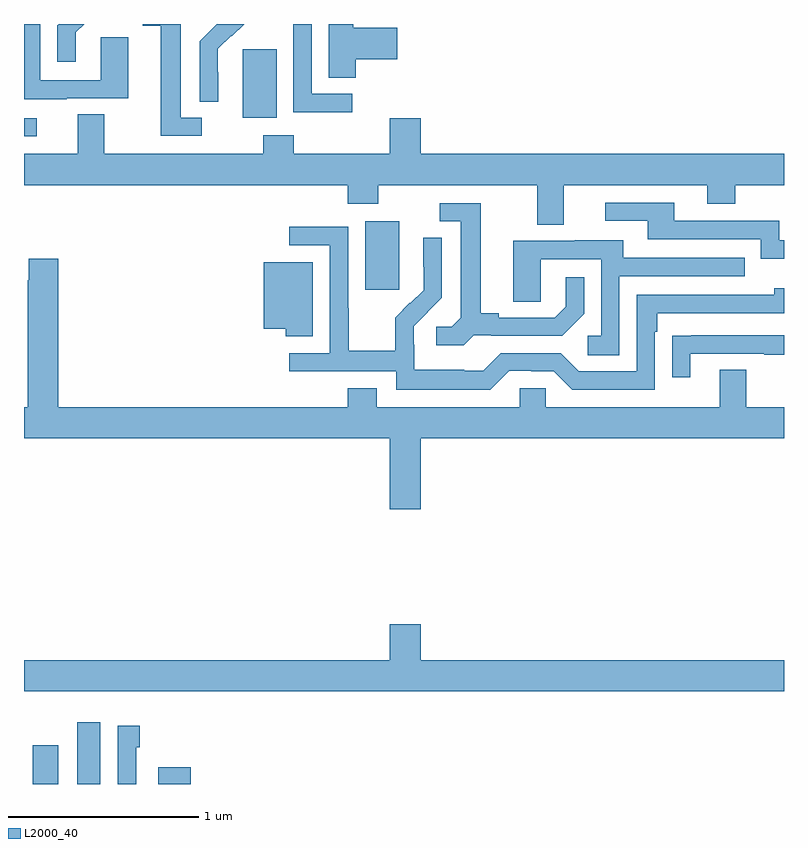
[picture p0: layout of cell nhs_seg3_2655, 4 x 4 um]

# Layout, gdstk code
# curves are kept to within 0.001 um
import gdstk
lib = gdstk.Library(unit=1e-6, precision=1e-09)
def R(c, l, rs):  # rectangles x0, y0, x1, y1
    for r in rs: c.add(gdstk.rectangle(r[:2], r[2:], *l))
def P(c, l, *ps):  # polygons
    for p in ps: c.add(gdstk.Polygon(p, *l))
L2000_40 = (2000, 40)

nhs_seg3_2655 = lib.new_cell('nhs_seg3_2655')
R(nhs_seg3_2655, L2000_40, [(247.046,728.4,247.18,728.605), (247.28,728.4,247.402,728.725), (247.706,728.4,247.877,728.488), (248.795,731.001,248.974,731.362), (247,731.808,247.066,731.904), (248.15,731.906,248.329,732.267)])
P(nhs_seg3_2655, L2000_40, [(248.747,732.214),(248.965,732.214),(248.965,732.379),(248.734,732.379),(248.734,732.4),(248.603,732.4),(248.603,732.118),(248.747,732.118)],
  [(247.936,731.907),(247.825,731.907),(247.825,732.4),(247.625,732.4),(247.625,732.392),(247.721,732.392),(247.721,731.811),(247.936,731.811)],
  [(247.273,732.357),(247.316,732.4),(247.182,732.4),(247.176,732.394),(247.176,732.201),(247.273,732.201)],
  [(248.728,732.033),(248.514,732.033),(248.514,732.4),(248.416,732.4),(248.416,732.364),(248.418,732.364),(248.418,731.935),(248.728,731.935)],
  [(248.022,732.146),(248.021,732.146),(248.021,732.269),(248.091,732.339),(248.094,732.336),(248.158,732.4),(248.014,732.4),(247.998,732.384),(247.999,732.383),(247.926,732.31),(247.926,731.992),(248.022,731.992)],
  [(247.225,732.009),(247.549,732.009),(247.549,732.329),(247.404,732.329),(247.404,732.105),(247.086,732.105),(247.086,732.4),(247,732.4),(247,732.005),(247.225,732.005)],
  [(249.841,731.552),(250.595,731.552),(250.595,731.453),(250.743,731.453),(250.743,731.552),(251,731.552),(251,731.716),(249.088,731.716),(249.088,731.905),(248.924,731.905),(248.924,731.716),(248.42,731.716),(248.42,731.815),(248.26,731.815),(248.26,731.716),(247.423,731.716),(247.423,731.924),(247.283,731.924),(247.283,731.716),(247,731.716),(247,731.552),(248.705,731.552),(248.705,731.453),(248.865,731.453),(248.865,731.552),(249.701,731.552),(249.701,731.344),(249.841,731.344)],
  [(251,731.262),(250.974,731.262),(250.974,731.364),(250.423,731.364),(250.423,731.46),(250.059,731.46),(250.059,731.364),(250.283,731.364),(250.283,731.268),(250.878,731.268),(250.878,731.165),(251,731.165)],
  [(249.366,730.761),(249.46,730.761),(249.46,730.758),(249.832,730.758),(249.948,730.874),(249.948,731.068),(249.851,731.068),(249.851,730.911),(249.794,730.854),(249.499,730.854),(249.499,730.877),(249.403,730.877),(249.403,731.457),(249.189,731.457),(249.189,731.361),(249.299,731.361),(249.299,730.853),(249.252,730.806),(249.171,730.806),(249.171,730.709),(249.314,730.709)],
  [(249.555,730.575),(249.671,730.575),(249.671,730.572),(249.789,730.572),(249.885,730.476),(250.32,730.476),(250.32,730.781),(250.333,730.781),(250.333,730.878),(251,730.878),(251,731.008),(250.949,731.008),(250.949,730.974),(250.224,730.974),(250.224,730.572),(249.921,730.572),(249.825,730.668),(249.51,730.668),(249.417,730.575),(249.317,730.575),(249.317,730.579),(249.054,730.579),(249.054,730.713),(249.052,730.713),(249.052,730.81),(249.198,730.958),(249.198,731.276),(249.102,731.276),(249.102,731.122),(249.104,731.122),(249.104,731),(249.033,730.929),(249.03,730.932),(248.953,730.855),(248.953,730.681),(248.709,730.681),(248.709,730.904),(248.706,730.904),(248.706,731.334),(248.397,731.334),(248.397,731.235),(248.61,731.235),(248.61,730.668),(248.397,730.668),(248.397,730.572),(248.958,730.572),(248.958,730.475),(249.455,730.475)],
  [(250.134,731.073),(250.793,731.073),(250.793,731.169),(250.153,731.169),(250.153,731.263),(249.899,731.263),(249.899,731.259),(249.575,731.259),(249.575,730.939),(249.72,730.939),(249.72,731.163),(250.038,731.163),(250.038,730.758),(249.966,730.758),(249.966,730.657),(250.134,730.657)],
  [(248.924,729.846),(249.088,729.846),(249.088,730.22),(251,730.22),(251,730.384),(250.801,730.384),(250.801,730.579),(250.661,730.579),(250.661,730.384),(249.747,730.384),(249.747,730.482),(249.609,730.482),(249.609,730.384),(248.857,730.384),(248.857,730.483),(248.705,730.483),(248.705,730.384),(247.181,730.384),(247.181,731.164),(247.025,731.164),(247.025,731.051),(247.021,731.051),(247.021,730.384),(247,730.384),(247,730.22),(248.924,730.22)],
  [(248.521,731.146),(248.261,731.146),(248.261,730.796),(248.378,730.796),(248.378,730.757),(248.521,730.757)],
  [(250.507,730.665),(250.897,730.665),(250.897,730.66),(251,730.66),(251,730.761),(250.513,730.761),(250.513,730.76),(250.411,730.76),(250.411,730.542),(250.507,730.542)],
  [(251,729.052),(249.088,729.052),(249.088,729.241),(248.924,729.241),(248.924,729.052),(247,729.052),(247,728.888),(251,728.888)],
  [(247.59,728.594),(247.61,728.594),(247.61,728.707),(247.494,728.707),(247.494,728.4),(247.59,728.4)])

lib.write_gds('nhs_seg3_2655.gds')
